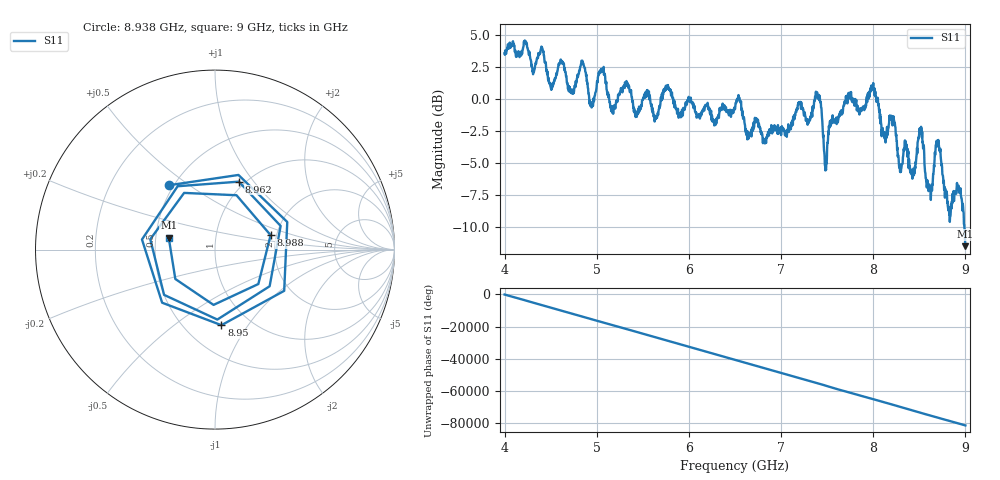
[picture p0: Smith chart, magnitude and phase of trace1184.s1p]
! Created with skrf 1.8.0 (http://scikit-rf.org).
# Hz S RI R 50.0
!freq ReS11 ImS11
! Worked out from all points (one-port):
!   1601 points, 4 GHz to 9 GHz, reference 50 ohm
!   lowest |S11| = -11.5 dB at 9 GHz (marker M1), VSWR 1.73, Z = 29.3 + j4.19 ohm
!   |S11| at or under -10 dB: 8.98898 GHz to end of sweep
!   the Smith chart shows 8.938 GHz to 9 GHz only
!   S11 on the Smith chart (normalised r, x): 8.938 GHz: 0.47, +0.42; 8.95 GHz: 0.74, -0.76; 8.962 GHz: 0.94, +0.85; 8.988 GHz: 1.86, +0.33; 9 GHz: 0.59, +0.08
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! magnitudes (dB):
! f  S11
! 4 GHz  3.6
! 4.625 GHz  3.0
! 4.728 GHz  0.8
! 4.853 GHz  2.8
! 4.944 GHz  -0.6
! 5.05 GHz  2.3
! 5.162 GHz  -0.5
! 5.25 GHz  0.4
! 5.875 GHz  -0.8
! 6.5 GHz  -0.8
! 6.825 GHz  -3.5
! 7.125 GHz  -1.6
! 7.397 GHz  0.1
! 7.484 GHz  -5.4
! 7.75 GHz  0.5
! 7.997 GHz  1.0
! 8.112 GHz  -2.8
! 8.375 GHz  -3.9
! 8.431 GHz  -5.8
! 8.516 GHz  -2.7
! 8.619 GHz  -6.8
! 8.703 GHz  -3.4
! 8.825 GHz  -9.1
! 8.938 GHz  -7.1
! 8.95 GHz  -7.5
! 8.962 GHz  -7.9
! 8.988 GHz  -9.9
! 9 GHz  -11.5
